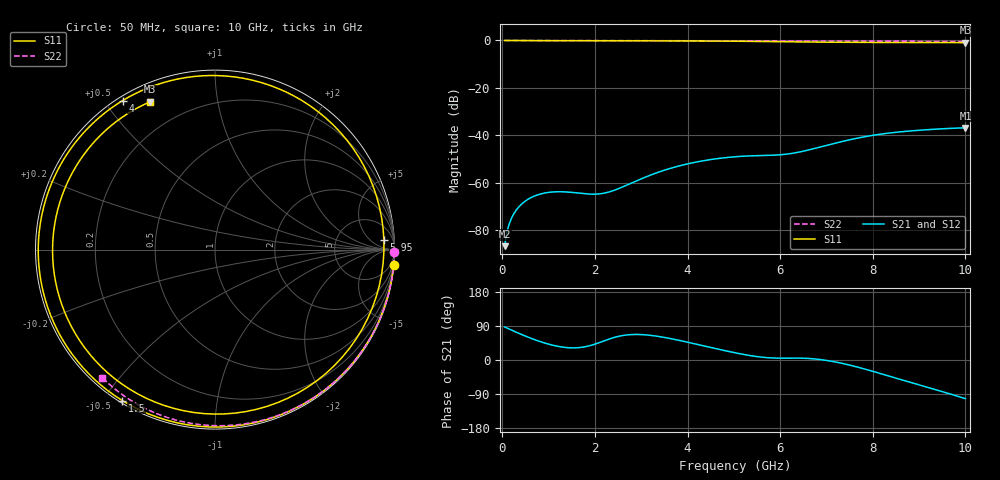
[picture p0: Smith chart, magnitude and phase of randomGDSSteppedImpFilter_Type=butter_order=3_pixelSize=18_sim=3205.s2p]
! freq	dB(S11)	phase(S11)	dB(S12)	phase(S12)
!  dB(S21)	phase(S21)	dB(S22)	phase(S22)
!S-par simulation data
#  GHz  S  DB  R 50
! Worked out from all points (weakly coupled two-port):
!   200 points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, 50 MHz to 10 GHz, reference 50 ohm
!   highest |S21| = -36.90 dB at 10 GHz (marker M1); lowest = -86.9 dB at 50 MHz (marker M2)
!   lowest |S11| = -0.9 dB at 10 GHz (marker M3), VSWR 18.88, Z = 3.78 + j32.6 ohm
!   |S11| at or under -10 dB: nowhere
!   |S22| runs from -0.4 to 0.0 dB; largest |S21 - S12| = 0
!   S11 on the Smith chart (normalised r, x): 50 MHz: 0, -23; 1.5 GHz: 0.01, -0.56; 4 GHz: 0.02, +0.56; 5.95 GHz: 18, +17; 10 GHz: 0.08, +0.65
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0.05  -0.00 -5.0  -86.88 87.2  -86.88 87.2  -0.00 -0.8
0.1  -0.01 -9.9  -80.90 84.4  -80.90 84.4  -0.00 -1.5
0.35  -0.04 -33.8  -70.45 70.7  -70.45 70.7  -0.01 -5.3
0.75  -0.08 -69.0  -65.30 51.4  -65.30 51.4  -0.01 -11.3
1.1  -0.10 -95.6  -63.97 38.7  -63.97 38.7  -0.02 -16.6
1.5  -0.11 -121.5  -64.17 32.0  -64.17 32.0  -0.03 -22.5
1.75  -0.12 -135.7  -64.69 34.1  -64.69 34.1  -0.03 -26.2
2.55  -0.13 -174.6  -62.26 63.5  -62.26 63.5  -0.05 -37.8
3.4  -0.16 148.7  -55.45 61.6  -55.45 61.6  -0.07 -49.9
4  -0.20 121.8  -52.13 47.0  -52.13 47.0  -0.08 -58.1
4.55  -0.26 94.4  -50.16 31.7  -50.16 31.7  -0.10 -65.6
5.05  -0.32 65.9  -49.08 18.5  -49.08 18.5  -0.11 -72.2
5.55  -0.42 32.8  -48.62 8.2  -48.62 8.2  -0.13 -78.6
5.95  -0.51 3.2  -48.36 4.9  -48.36 4.9  -0.14 -83.7
6.3  -0.60 -24.4  -47.55 5.1  -47.55 5.1  -0.16 -88.1
6.7  -0.69 -56.2  -45.83 3.3  -45.83 3.3  -0.18 -93.0
7.05  -0.74 -83.0  -44.07 -2.1  -44.07 -2.1  -0.20 -97.3
7.4  -0.79 -108.0  -42.39 -10.6  -42.39 -10.6  -0.22 -101.4
7.9  -0.83 -140.1  -40.40 -26.4  -40.40 -26.4  -0.25 -107.4
8.35  -0.85 -165.8  -39.11 -42.4  -39.11 -42.4  -0.29 -112.6
9.1  -0.88 156.0  -37.79 -69.2  -37.79 -69.2  -0.35 -121.2
10  -0.92 113.6  -36.90 -102.0  -36.90 -102.0  -0.44 -131.4
